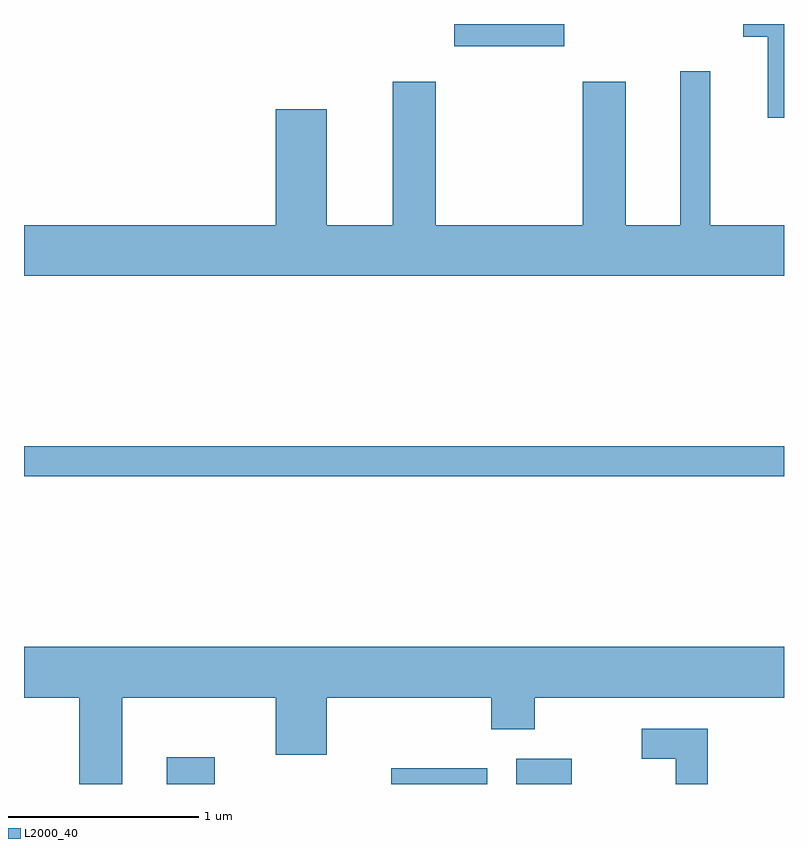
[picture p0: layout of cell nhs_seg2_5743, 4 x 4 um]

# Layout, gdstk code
import gdstk
lib = gdstk.Library(unit=1e-6, precision=1e-09)
def R(c, l, rs):  # rectangles x0, y0, x1, y1
    for r in rs: c.add(gdstk.rectangle(r[:2], r[2:], *l))
def P(c, l, *ps):  # polygons
    for p in ps: c.add(gdstk.Polygon(p, *l))
L2000_40 = (2000, 40)

nhs_seg2_5743 = lib.new_cell('nhs_seg2_5743')
R(nhs_seg2_5743, L2000_40, [(354.361,1107.802,354.614,1107.944), (355.543,1107.802,356.049,1107.884), (356.201,1107.802,356.494,1107.934), (353.611,1109.421,357.611,1109.579), (355.876,1111.686,356.454,1111.802)])
P(nhs_seg2_5743, L2000_40, [(357.611,1111.802),(357.396,1111.802),(357.396,1111.736),(357.526,1111.736),(357.526,1111.308),(357.611,1111.308)],
  [(357.611,1110.744),(357.224,1110.744),(357.224,1111.553),(357.066,1111.553),(357.066,1110.744),(356.779,1110.744),(356.779,1111.499),(356.551,1111.499),(356.551,1110.744),(355.779,1110.744),(355.779,1111.499),(355.551,1111.499),(355.551,1110.744),(355.204,1110.744),(355.204,1111.354),(354.936,1111.354),(354.936,1110.744),(353.611,1110.744),(353.611,1110.476),(357.611,1110.476)],
  [(354.129,1108.256),(354.936,1108.256),(354.936,1107.956),(355.204,1107.956),(355.204,1108.256),(356.071,1108.256),(356.071,1108.091),(356.299,1108.091),(356.299,1108.256),(357.611,1108.256),(357.611,1108.524),(353.611,1108.524),(353.611,1108.256),(353.901,1108.256),(353.901,1107.802),(354.129,1107.802)],
  [(357.209,1108.094),(356.863,1108.094),(356.863,1107.936),(357.041,1107.936),(357.041,1107.802),(357.209,1107.802)])

lib.write_gds('nhs_seg2_5743.gds')
